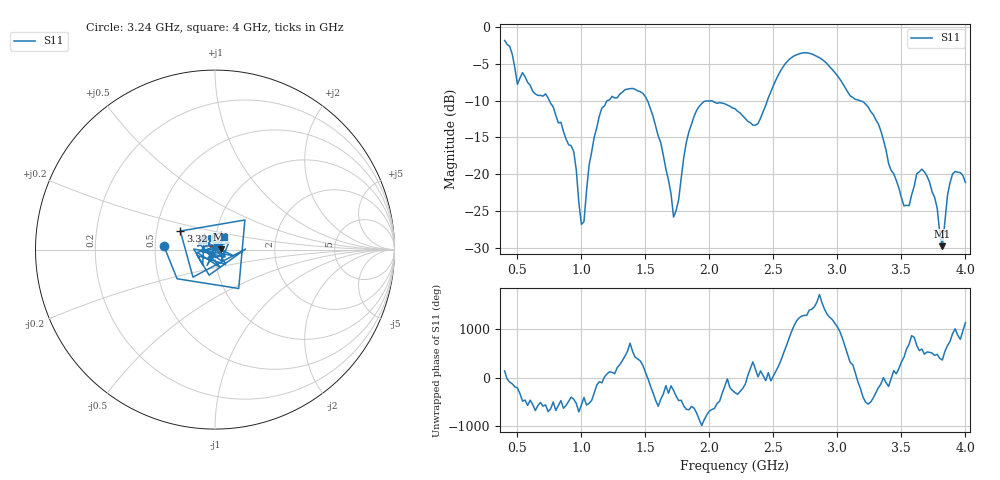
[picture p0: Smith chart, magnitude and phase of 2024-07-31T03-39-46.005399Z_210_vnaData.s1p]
!Created with skrf (http://scikit-rf.org).
# Hz S RI R 50.0
!freq ReS11 ImS11
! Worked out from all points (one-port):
!   181 points, 400 MHz to 4 GHz, reference 50 ohm
!   lowest |S11| = -29.7 dB at 3.82 GHz (marker M1), VSWR 1.07, Z = 53.4 + j0.238 ohm
!   |S11| at or under -10 dB: 749.3 MHz to 1.205 GHz (455.5 MHz wide, 46.6 % of centre); 1.515 GHz to 2.453 GHz (937.4 MHz wide, 47.2 % of centre); 3.174 GHz to end of sweep
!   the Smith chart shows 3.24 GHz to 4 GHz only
!   S11 on the Smith chart (normalised r, x): 3.24 GHz: 0.56, +0.03; 3.32 GHz: 0.66, +0.14; 4 GHz: 1.10, +0.16
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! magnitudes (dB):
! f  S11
! 400 MHz  -1.9
! 500 MHz  -7.8
! 720 MHz  -9.1
! 860 MHz  -14.2
! 940 MHz  -16.9
! 1 GHz  -26.8
! 1.14 GHz  -12.1
! 1.3 GHz  -9.1
! 1.5 GHz  -9.5
! 1.62 GHz  -15.7
! 1.72 GHz  -25.8
! 1.76 GHz  -23.4
! 1.82 GHz  -15.6
! 1.9 GHz  -11.3
! 2.2 GHz  -11.1
! 2.38 GHz  -13.1
! 2.66 GHz  -4.0
! 2.88 GHz  -4.4
! 3.1 GHz  -9.4
! 3.24 GHz  -10.9
! 3.32 GHz  -13.2
! 3.56 GHz  -24.2
! 3.62 GHz  -19.9
! 3.68 GHz  -19.7
! 3.76 GHz  -23.1
! 3.82 GHz  -29.7
! 3.9 GHz  -19.9
! 4 GHz  -21.1
